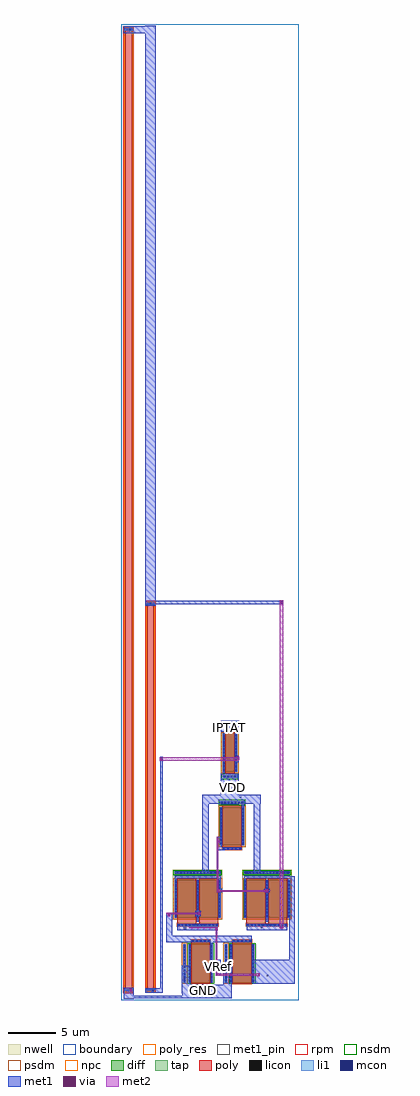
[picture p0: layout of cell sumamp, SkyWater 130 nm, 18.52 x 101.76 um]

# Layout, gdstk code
import gdstk
lib = gdstk.Library(unit=1e-6, precision=1e-09)
def R(c, l, rs):  # rectangles x0, y0, x1, y1
    for r in rs: c.add(gdstk.rectangle(r[:2], r[2:], *l))
def A(c, l, x, y, w, h, nx, ny, dx, dy):  # array of equal rectangles
    R(c, l, [(x+i*dx, y+j*dy, x+i*dx+w, y+j*dy+h) for i in range(nx) for j in range(ny)])
nwell = (64, 20)
diff = (65, 20)
tap = (65, 44)
poly_res = (66, 13)
poly = (66, 20)
licon = (66, 44)
li1 = (67, 20)
mcon = (67, 44)
met1_pin = (68, 16)
met1 = (68, 20)
via = (68, 44)
met2 = (69, 20)
rpm = (86, 20)
nsdm = (93, 44)
psdm = (94, 20)
npc = (95, 20)
boundary = (235, 4)

pfet_01v8_cdns_778464437 = lib.new_cell('pfet_01v8_CDNS_778464437010')
R(pfet_01v8_cdns_778464437, nwell, [(-0.445,-0.81,1.445,4.18)])
R(pfet_01v8_cdns_778464437, diff, [(-0.265,0,0,4), (0,0,1,4), (1,0,1.265,4)])
R(pfet_01v8_cdns_778464437, tap, [(-0.265,-0.63,1.265,-0.34)])
R(pfet_01v8_cdns_778464437, poly, [(0,-0.15,1,0), (0,0,1,4), (0,4,1,4.19), (0,4.19,1,4.46)])
A(pfet_01v8_cdns_778464437, licon, -0.095, -0.57, 0.17, 0.17, 4, 1, 0.34, 0)
A(pfet_01v8_cdns_778464437, licon, -0.225, 0.215, 0.17, 0.17, 1, 11, 0, 0.34)
A(pfet_01v8_cdns_778464437, licon, 1.055, 0.215, 0.17, 0.17, 1, 11, 0, 0.34)
R(pfet_01v8_cdns_778464437, licon, [(0.08,4.24,0.25,4.41), (0.75,4.24,0.92,4.41)])
R(pfet_01v8_cdns_778464437, li1, [(-0.255,-0.62,1.255,-0.35), (-0.225,0,-0.055,4), (1.055,0,1.225,4), (0,4.21,1,4.44)])
A(pfet_01v8_cdns_778464437, mcon, -0.125, -0.57, 0.17, 0.17, 4, 1, 0.36, 0)
A(pfet_01v8_cdns_778464437, mcon, -0.225, 0.115, 0.17, 0.17, 1, 11, 0, 0.36)
A(pfet_01v8_cdns_778464437, mcon, 1.055, 0.115, 0.17, 0.17, 1, 11, 0, 0.36)
R(pfet_01v8_cdns_778464437, mcon, [(0.08,4.24,0.25,4.41), (0.75,4.24,0.92,4.41)])
R(pfet_01v8_cdns_778464437, met1, [(-0.255,-0.62,1.255,-0.35), (-0.255,0,-0.025,4), (1.025,0,1.255,4), (0,4.19,1,4.46)])
R(pfet_01v8_cdns_778464437, nsdm, [(-0.395,-0.76,1.395,-0.21)])
R(pfet_01v8_cdns_778464437, psdm, [(-0.405,-0.13,1.405,4.13)])
R(pfet_01v8_cdns_778464437, npc, [(-0.05,4.14,1.05,4.51)])
pfet_01v8_cdns_778464437.add(gdstk.Label('D_drain_1', (1.132,2), layer=65, texttype=20))
pfet_01v8_cdns_778464437.add(gdstk.Label('S_source_0', (-0.132,2), layer=65, texttype=20))
pfet_01v8_cdns_778464437.add(gdstk.Label('B', (0.5,-0.485), layer=68, texttype=20))
pfet_01v8_cdns_778464437.add(gdstk.Label('G_gct_1', (0.5,4.325), layer=68, texttype=20))
pfet_01v8_cdns_778464437.add(gdstk.Label('D_drain_1', (1.14,2), layer=68, texttype=20))
pfet_01v8_cdns_778464437.add(gdstk.Label('S_source_0', (-0.14,2), layer=68, texttype=20))
pfet_01v8_cdns_778464437.add(gdstk.Label('G_gct_1', (0.5,4.325), layer=67, texttype=20))
pfet_01v8_cdns_778464437.add(gdstk.Label('B', (0.5,1.685), layer=64, texttype=20))

res_high_po_0p69_cdns_77 = lib.new_cell('res_high_po_0p69_CDNS_778464437011')
R(res_high_po_0p69_cdns_77, poly_res, [(0,-0.05,0.69,99.95)])
R(res_high_po_0p69_cdns_77, poly, [(0,-0.27,0.69,0), (0,0,0.69,99.9), (0,99.9,0.69,100.17)])
R(res_high_po_0p69_cdns_77, licon, [(0.08,-0.22,0.25,-0.05), (0.44,-0.22,0.61,-0.05), (0.08,99.95,0.25,100.12), (0.44,99.95,0.61,100.12)])
R(res_high_po_0p69_cdns_77, li1, [(-0.1,-0.22,0.79,-0.05), (-0.1,99.95,0.79,100.12)])
R(res_high_po_0p69_cdns_77, rpm, [(-0.2,-0.47,0.89,100.37)])
R(res_high_po_0p69_cdns_77, psdm, [(-0.11,-0.38,0.8,100.28)])
R(res_high_po_0p69_cdns_77, npc, [(-0.095,-0.365,0.785,100.265)])
res_high_po_0p69_cdns_77.add(gdstk.Label('MINUS', (0.345,-0.135), layer=67, texttype=20))
res_high_po_0p69_cdns_77.add(gdstk.Label('PLUS', (0.345,100.035), layer=67, texttype=20))

c_pfet_01v8_cdns_778464437 = lib.new_cell('pfet_01v8_CDNS_778464437012')
R(c_pfet_01v8_cdns_778464437, nwell, [(-0.445,-0.18,4.725,5.05)])
R(c_pfet_01v8_cdns_778464437, diff, [(-0.265,0,0,4), (0,0,2,4), (2,0,2.28,4), (2.28,0,4.28,4), (4.28,0,4.545,4)])
R(c_pfet_01v8_cdns_778464437, tap, [(-0.265,4.58,4.545,4.87)])
R(c_pfet_01v8_cdns_778464437, poly, [(0,-0.86,4.28,-0.59), (0,-0.59,2,0), (2.28,-0.59,4.28,0), (0,0,2,4), (2.28,0,4.28,4), (0,4,2,4.15), (2.28,4,4.28,4.15)])
A(c_pfet_01v8_cdns_778464437, licon, 0.08, -0.81, 0.17, 0.17, 10, 1, 0.36, 0)
A(c_pfet_01v8_cdns_778464437, licon, -0.225, 0.215, 0.17, 0.17, 3, 11, 2.28, 0.34)
A(c_pfet_01v8_cdns_778464437, licon, 0.015, 4.64, 0.17, 0.17, 13, 1, 0.34, 0)
R(c_pfet_01v8_cdns_778464437, licon, [(3.675,-0.81,3.845,-0.64), (4.03,-0.81,4.2,-0.64)])
A(c_pfet_01v8_cdns_778464437, li1, -0.225, 0, 0.17, 4, 3, 1, 2.28, 0)
R(c_pfet_01v8_cdns_778464437, li1, [(0,-0.84,4.28,-0.61), (-0.255,4.59,4.535,4.86)])
A(c_pfet_01v8_cdns_778464437, mcon, 0.08, -0.81, 0.17, 0.17, 11, 1, 0.395, 0)
A(c_pfet_01v8_cdns_778464437, mcon, -0.225, 0.115, 0.17, 0.17, 3, 11, 2.28, 0.36)
A(c_pfet_01v8_cdns_778464437, mcon, -0.105, 4.64, 0.17, 0.17, 13, 1, 0.36, 0)
A(c_pfet_01v8_cdns_778464437, met1, -0.255, 0, 0.23, 4, 3, 1, 2.28, 0)
R(c_pfet_01v8_cdns_778464437, met1, [(0,-0.86,4.28,-0.59), (2.025,-0.4,2.255,-0.17), (2.025,-0.17,2.255,0), (-0.255,4,-0.025,4.17), (4.305,4,4.535,4.17), (-0.255,4.17,4.535,4.4), (-0.255,4.59,4.535,4.86)])
R(c_pfet_01v8_cdns_778464437, nsdm, [(-0.395,4.45,4.675,5)])
R(c_pfet_01v8_cdns_778464437, psdm, [(-0.405,-0.13,4.685,4.13)])
R(c_pfet_01v8_cdns_778464437, npc, [(-0.05,-0.91,4.33,-0.54)])
c_pfet_01v8_cdns_778464437.add(gdstk.Label('S_source_0', (4.412,2), layer=65, texttype=20))
c_pfet_01v8_cdns_778464437.add(gdstk.Label('S_source_0', (-0.132,2), layer=65, texttype=20))
c_pfet_01v8_cdns_778464437.add(gdstk.Label('B', (2.14,4.725), layer=68, texttype=20))
c_pfet_01v8_cdns_778464437.add(gdstk.Label('G_gcb_1', (2.14,-0.725), layer=68, texttype=20))
c_pfet_01v8_cdns_778464437.add(gdstk.Label('D_drain_0', (2.14,-0.285), layer=68, texttype=20))
c_pfet_01v8_cdns_778464437.add(gdstk.Label('S_source_0', (2.14,4.285), layer=68, texttype=20))
c_pfet_01v8_cdns_778464437.add(gdstk.Label('S_source_0', (4.42,4.085), layer=68, texttype=20))
c_pfet_01v8_cdns_778464437.add(gdstk.Label('D_drain_0', (2.14,-0.085), layer=68, texttype=20))
c_pfet_01v8_cdns_778464437.add(gdstk.Label('S_source_0', (-0.14,4.085), layer=68, texttype=20))
c_pfet_01v8_cdns_778464437.add(gdstk.Label('S_source_0', (4.42,2), layer=68, texttype=20))
c_pfet_01v8_cdns_778464437.add(gdstk.Label('D_drain_0', (2.14,2), layer=68, texttype=20))
c_pfet_01v8_cdns_778464437.add(gdstk.Label('S_source_0', (-0.14,2), layer=68, texttype=20))
c_pfet_01v8_cdns_778464437.add(gdstk.Label('G_gcb_1', (2.14,-0.725), layer=67, texttype=20))
c_pfet_01v8_cdns_778464437.add(gdstk.Label('B', (2.14,2.435), layer=64, texttype=20))

nfet_01v8_cdns_778464437 = lib.new_cell('nfet_01v8_CDNS_778464437013')
R(nfet_01v8_cdns_778464437, diff, [(-0.265,0,0,4), (0,0,2,4), (2,0,2.265,4)])
R(nfet_01v8_cdns_778464437, tap, [(-0.825,0,-0.535,4)])
R(nfet_01v8_cdns_778464437, poly, [(0,-0.15,2,0), (0,0,2,4), (0,4,2,4.19), (0,4.19,2,4.46)])
A(nfet_01v8_cdns_778464437, licon, -0.765, 0.215, 0.17, 0.17, 1, 11, 0, 0.34)
A(nfet_01v8_cdns_778464437, licon, -0.225, 0.215, 0.17, 0.17, 1, 11, 0, 0.34)
A(nfet_01v8_cdns_778464437, licon, 2.055, 0.215, 0.17, 0.17, 1, 11, 0, 0.34)
A(nfet_01v8_cdns_778464437, licon, 0.08, 4.24, 0.17, 0.17, 3, 1, 0.42, 0)
R(nfet_01v8_cdns_778464437, licon, [(1.335,4.24,1.505,4.41), (1.75,4.24,1.92,4.41)])
R(nfet_01v8_cdns_778464437, li1, [(-0.815,0,-0.545,4), (-0.225,0,-0.055,4), (2.055,0,2.225,4), (0,4.21,2,4.44)])
A(nfet_01v8_cdns_778464437, mcon, -0.765, 0.115, 0.17, 0.17, 1, 11, 0, 0.36)
A(nfet_01v8_cdns_778464437, mcon, -0.225, 0.115, 0.17, 0.17, 1, 11, 0, 0.36)
A(nfet_01v8_cdns_778464437, mcon, 2.055, 0.115, 0.17, 0.17, 1, 11, 0, 0.36)
A(nfet_01v8_cdns_778464437, mcon, 0.08, 4.24, 0.17, 0.17, 3, 1, 0.42, 0)
R(nfet_01v8_cdns_778464437, mcon, [(1.335,4.24,1.505,4.41), (1.75,4.24,1.92,4.41)])
R(nfet_01v8_cdns_778464437, met1, [(-0.815,0,-0.545,4), (-0.255,0,-0.025,4), (2.025,0,2.255,4), (0,4.19,2,4.46)])
R(nfet_01v8_cdns_778464437, nsdm, [(-0.405,-0.13,2.405,4.13)])
R(nfet_01v8_cdns_778464437, psdm, [(-0.965,-0.14,-0.395,4.14)])
R(nfet_01v8_cdns_778464437, npc, [(-0.05,4.14,2.05,4.51)])
nfet_01v8_cdns_778464437.add(gdstk.Label('D_drain_1', (2.132,2), layer=65, texttype=20))
nfet_01v8_cdns_778464437.add(gdstk.Label('S_source_0', (-0.132,2), layer=65, texttype=20))
nfet_01v8_cdns_778464437.add(gdstk.Label('B', (-0.68,2), layer=68, texttype=20))
nfet_01v8_cdns_778464437.add(gdstk.Label('G_gct_1', (1,4.325), layer=68, texttype=20))
nfet_01v8_cdns_778464437.add(gdstk.Label('D_drain_1', (2.14,2), layer=68, texttype=20))
nfet_01v8_cdns_778464437.add(gdstk.Label('S_source_0', (-0.14,2), layer=68, texttype=20))
nfet_01v8_cdns_778464437.add(gdstk.Label('B', (-0.68,2), layer=67, texttype=20))
nfet_01v8_cdns_778464437.add(gdstk.Label('G_gct_1', (1,4.325), layer=67, texttype=20))

c_pfet_01v8_cdns_778464437_ = lib.new_cell('pfet_01v8_CDNS_778464437014')
R(c_pfet_01v8_cdns_778464437_, nwell, [(-0.445,-0.18,2.445,4.81)])
R(c_pfet_01v8_cdns_778464437_, diff, [(-0.265,0,0,4), (0,0,2,4), (2,0,2.265,4)])
R(c_pfet_01v8_cdns_778464437_, tap, [(-0.265,4.34,2.265,4.63)])
R(c_pfet_01v8_cdns_778464437_, poly, [(0,-0.46,2,-0.19), (0,-0.19,2,0), (0,0,2,4), (0,4,2,4.15)])
A(c_pfet_01v8_cdns_778464437_, licon, 0.08, -0.41, 0.17, 0.17, 3, 1, 0.42, 0)
A(c_pfet_01v8_cdns_778464437_, licon, -0.225, 0.215, 0.17, 0.17, 1, 11, 0, 0.34)
A(c_pfet_01v8_cdns_778464437_, licon, 2.055, 0.215, 0.17, 0.17, 1, 11, 0, 0.34)
A(c_pfet_01v8_cdns_778464437_, licon, -0.105, 4.4, 0.17, 0.17, 7, 1, 0.34, 0)
R(c_pfet_01v8_cdns_778464437_, licon, [(1.335,-0.41,1.505,-0.24), (1.75,-0.41,1.92,-0.24)])
R(c_pfet_01v8_cdns_778464437_, li1, [(0,-0.44,2,-0.21), (-0.225,0,-0.055,4), (2.055,0,2.225,4), (-0.255,4.35,2.255,4.62)])
A(c_pfet_01v8_cdns_778464437_, mcon, 0.08, -0.41, 0.17, 0.17, 3, 1, 0.42, 0)
A(c_pfet_01v8_cdns_778464437_, mcon, -0.225, 0.115, 0.17, 0.17, 1, 11, 0, 0.36)
A(c_pfet_01v8_cdns_778464437_, mcon, 2.055, 0.115, 0.17, 0.17, 1, 11, 0, 0.36)
A(c_pfet_01v8_cdns_778464437_, mcon, -0.165, 4.4, 0.17, 0.17, 7, 1, 0.36, 0)
R(c_pfet_01v8_cdns_778464437_, mcon, [(1.335,-0.41,1.505,-0.24), (1.75,-0.41,1.92,-0.24)])
R(c_pfet_01v8_cdns_778464437_, met1, [(0,-0.46,2,-0.19), (-0.255,0,-0.025,4), (2.025,0,2.255,4), (-0.255,4.35,2.255,4.62)])
R(c_pfet_01v8_cdns_778464437_, nsdm, [(-0.395,4.21,2.395,4.76)])
R(c_pfet_01v8_cdns_778464437_, psdm, [(-0.405,-0.13,2.405,4.13)])
R(c_pfet_01v8_cdns_778464437_, npc, [(-0.05,-0.51,2.05,-0.14)])
c_pfet_01v8_cdns_778464437_.add(gdstk.Label('D_drain_1', (2.132,2), layer=65, texttype=20))
c_pfet_01v8_cdns_778464437_.add(gdstk.Label('S_source_0', (-0.132,2), layer=65, texttype=20))
c_pfet_01v8_cdns_778464437_.add(gdstk.Label('B', (1,4.485), layer=68, texttype=20))
c_pfet_01v8_cdns_778464437_.add(gdstk.Label('G_gcb_1', (1,-0.325), layer=68, texttype=20))
c_pfet_01v8_cdns_778464437_.add(gdstk.Label('D_drain_1', (2.14,2), layer=68, texttype=20))
c_pfet_01v8_cdns_778464437_.add(gdstk.Label('S_source_0', (-0.14,2), layer=68, texttype=20))
c_pfet_01v8_cdns_778464437_.add(gdstk.Label('G_gcb_1', (1,-0.325), layer=67, texttype=20))
c_pfet_01v8_cdns_778464437_.add(gdstk.Label('B', (1,2.315), layer=64, texttype=20))

m1m2_c_cdns_778464437010 = lib.new_cell('M1M2_C_CDNS_778464437010')
R(m1m2_c_cdns_778464437010, met1, [(-0.13,-0.16,0.13,0.16)])
R(m1m2_c_cdns_778464437010, via, [(-0.075,-0.075,0.075,0.075)])
R(m1m2_c_cdns_778464437010, met2, [(-0.13,-0.16,0.13,0.16)])

ota = lib.new_cell('ota')
R(ota, met1_pin, [(3.005,2.04,3.145,2.18), (10.99,3.405,11.13,3.545), (2.335,8.31,2.565,8.555), (10.365,8.42,10.505,8.56), (8.185,22.01,8.3,22.105)])
R(ota, met1, [(2.12,1.595,7.32,2.515), (2.12,1.935,3.02,4.46), (6.455,1.935,7.32,4.6), (9.495,2.595,13.875,5.11), (13.3,2.595,13.875,13.815), (5.075,4.905,5.36,7.46), (0.485,6.92,1.13,10.025), (0.485,6.92,9.41,7.59), (1.645,8.205,5.885,8.845), (8.88,8.205,13.12,8.845), (3.5,9.64,4.075,10.235), (5.755,12.13,6.33,12.49), (10.72,12.13,11.295,12.49), (4.245,14.065,4.91,22.285), (9.645,14.07,10.31,22.29), (5.76,16.52,6.605,16.855), (5.76,16.52,6.305,17.945), (8.375,20.795,8.65,21.755), (4.245,21.375,10.335,22.29)])
R(ota, met2, [(0.485,9.875,4.075,10.02), (5.76,12.145,5.915,17.945), (5.785,12.21,11.15,12.355)])
ota.add(gdstk.Reference(c_pfet_01v8_cdns_778464437, (8.86,9.465)))
ota.add(gdstk.Reference(c_pfet_01v8_cdns_778464437, (1.635,9.465)))
ota.add(gdstk.Reference(nfet_01v8_cdns_778464437, (7.4,2.725)))
ota.add(gdstk.Reference(nfet_01v8_cdns_778464437, (3.09,2.725)))
ota.add(gdstk.Reference(c_pfet_01v8_cdns_778464437_, (6.36,17.025)))
ota.add(gdstk.Reference(m1m2_c_cdns_778464437010, (0.795,9.82)))
ota.add(gdstk.Reference(m1m2_c_cdns_778464437010, (5.95,12.31)))
ota.add(gdstk.Reference(m1m2_c_cdns_778464437010, (10.96,12.29)))
ota.add(gdstk.Reference(m1m2_c_cdns_778464437010, (5.96,17.455)))
ota.add(gdstk.Reference(m1m2_c_cdns_778464437010, (3.835,9.975)))
ota.add(gdstk.Label('V1', (2.45,8.432), layer=68, texttype=16))
ota.add(gdstk.Label('V2', (10.435,8.49), layer=68, texttype=16))
ota.add(gdstk.Label('GND', (3.075,2.11), layer=68, texttype=16))
ota.add(gdstk.Label('Vout', (11.06,3.475), layer=68, texttype=16))
ota.add(gdstk.Label('VDD', (8.242,22.057), layer=68, texttype=16))

c_res_high_po_0p69_cdns_77 = lib.new_cell('res_high_po_0p69_CDNS_778464437015')
R(c_res_high_po_0p69_cdns_77, poly_res, [(0,-0.05,0.69,39.95)])
R(c_res_high_po_0p69_cdns_77, poly, [(0,-0.27,0.69,0), (0,0,0.69,39.9), (0,39.9,0.69,40.17)])
R(c_res_high_po_0p69_cdns_77, licon, [(0.08,-0.22,0.25,-0.05), (0.44,-0.22,0.61,-0.05), (0.08,39.95,0.25,40.12), (0.44,39.95,0.61,40.12)])
R(c_res_high_po_0p69_cdns_77, li1, [(-0.1,-0.22,0.79,-0.05), (-0.1,39.95,0.79,40.12)])
R(c_res_high_po_0p69_cdns_77, rpm, [(-0.2,-0.47,0.89,40.37)])
R(c_res_high_po_0p69_cdns_77, psdm, [(-0.11,-0.38,0.8,40.28)])
R(c_res_high_po_0p69_cdns_77, npc, [(-0.095,-0.365,0.785,40.265)])
c_res_high_po_0p69_cdns_77.add(gdstk.Label('MINUS', (0.345,-0.135), layer=67, texttype=20))
c_res_high_po_0p69_cdns_77.add(gdstk.Label('PLUS', (0.345,40.035), layer=67, texttype=20))

l1m1_c_cdns_778464437011 = lib.new_cell('L1M1_C_CDNS_778464437011')
R(l1m1_c_cdns_778464437011, li1, [(-0.085,-0.165,0.085,0.165)])
R(l1m1_c_cdns_778464437011, mcon, [(-0.085,-0.085,0.085,0.085)])
R(l1m1_c_cdns_778464437011, met1, [(-0.13,-0.16,0.13,0.16)])

l1m1_c_cdns_778464437012 = lib.new_cell('L1M1_C_CDNS_778464437012')
R(l1m1_c_cdns_778464437012, li1, [(-0.085,-0.165,0.085,0.165)])
R(l1m1_c_cdns_778464437012, mcon, [(-0.085,-0.085,0.085,0.085)])
R(l1m1_c_cdns_778464437012, met1, [(-0.115,-0.145,0.115,0.145)])

sumamp = lib.new_cell('sumamp')
R(sumamp, met1_pin, [(18.515,3.075,18.655,3.215), (20.11,5.525,20.25,5.665), (21.56,24.22,21.7,24.36), (21.28,30.51,21.42,30.65)])
R(sumamp, met1, [(10.28,2.285,11.345,3.395), (10.295,2.32,21.525,2.575), (16.4,2.33,21.545,3.66), (12.54,2.915,14.35,3.37), (14.085,2.92,14.375,27.495), (18.37,2.93,18.83,3.315), (19.885,4.645,20.425,6.33), (20.4,22.545,22.3,25.705), (20.63,25.31,20.83,26.04), (21.995,26.945,22.265,27.63), (20.385,30.12,22.305,31.24), (12.535,43.26,13.625,103.7), (13.46,43.39,26.9,43.79), (10.275,102.925,13.625,103.69)])
R(sumamp, met2, [(19.885,4.65,20.055,9.75), (19.885,4.655,24.465,4.86), (26.575,9.6,26.925,43.82), (17.125,9.61,20.095,9.755), (14.045,27.095,22.255,27.47)])
R(sumamp, boundary, [(10.02,2.14,28.54,103.9)])
sumamp.add(gdstk.Reference(pfet_01v8_cdns_778464437, (20.855,25.935)))
sumamp.add(gdstk.Reference(res_high_po_0p69_cdns_77, (10.46,3.315)))
sumamp.add(gdstk.Reference(ota, (14.22,1.225)))
sumamp.add(gdstk.Reference(c_res_high_po_0p69_cdns_77, (12.745,3.385)))
sumamp.add(gdstk.Reference(m1m2_c_cdns_778464437010, (24.36,4.775)))
sumamp.add(gdstk.Reference(m1m2_c_cdns_778464437010, (20.055,4.85)))
sumamp.add(gdstk.Reference(m1m2_c_cdns_778464437010, (19.965,9.595)))
sumamp.add(gdstk.Reference(m1m2_c_cdns_778464437010, (26.75,9.71)))
sumamp.add(gdstk.Reference(m1m2_c_cdns_778464437010, (26.725,43.59)))
sumamp.add(gdstk.Reference(m1m2_c_cdns_778464437010, (22.175,27.34)))
sumamp.add(gdstk.Reference(m1m2_c_cdns_778464437010, (14.235,27.25)))
sumamp.add(gdstk.Reference(m1m2_c_cdns_778464437010, (11.045,3.14)))
sumamp.add(gdstk.Reference(l1m1_c_cdns_778464437011, (11.045,3.14)))
sumamp.add(gdstk.Reference(l1m1_c_cdns_778464437012, (13.095,43.47)))
sumamp.add(gdstk.Reference(l1m1_c_cdns_778464437012, (10.925,103.33)))
sumamp.add(gdstk.Reference(l1m1_c_cdns_778464437012, (13.31,3.115)))
sumamp.add(gdstk.Label('IPTAT', (21.35,30.58), layer=68, texttype=16))
sumamp.add(gdstk.Label('VRef', (20.18,5.595), layer=68, texttype=16))
sumamp.add(gdstk.Label('GND', (18.585,3.145), layer=68, texttype=16))
sumamp.add(gdstk.Label('VDD', (21.63,24.29), layer=68, texttype=16))
sumamp.add(gdstk.Label('IPTAT', (21.35,30.58), layer=83, texttype=44))
sumamp.add(gdstk.Label('VRef', (20.18,5.595), layer=83, texttype=44))
sumamp.add(gdstk.Label('GND', (18.585,3.145), layer=83, texttype=44))
sumamp.add(gdstk.Label('VDD', (21.63,24.29), layer=83, texttype=44))

lib.write_gds('sumamp.gds')
